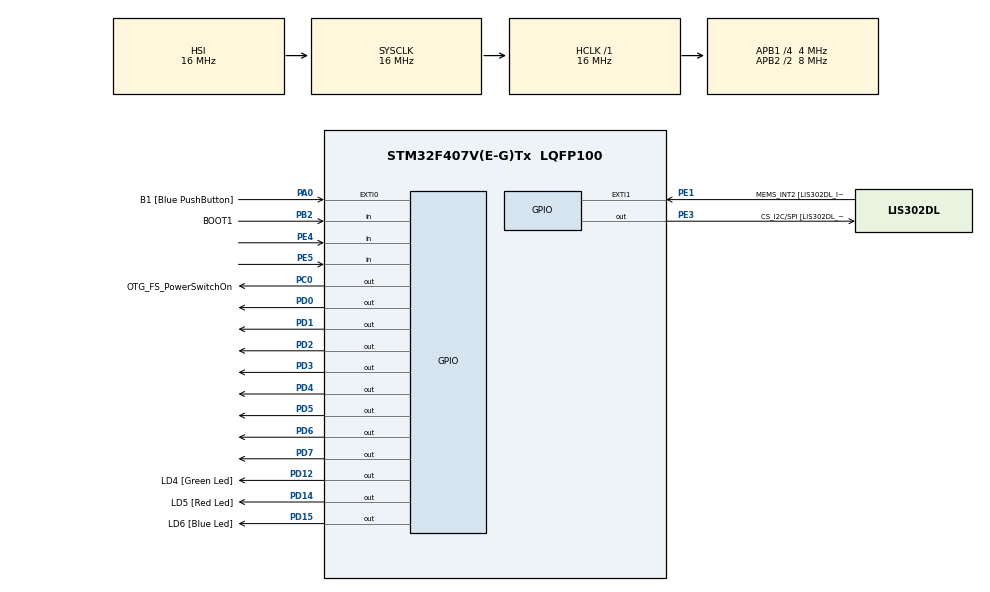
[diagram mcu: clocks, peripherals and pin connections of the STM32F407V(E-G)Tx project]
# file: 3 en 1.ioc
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Mcu.Family=STM32F4
Mcu.Name=STM32F407V(E-G)Tx
Mcu.Package=LQFP100
NVIC.PriorityGroup=NVIC_PRIORITYGROUP_0
PA0-WKUP.GPIO_Label=B1 [Blue PushButton]
PA0-WKUP.Signal=GPXTI0
PA10.GPIO_Label=OTG_FS_ID
PA10.GPIO_Mode=GPIO_MODE_AF_PP
PA10.GPIO_PuPd=GPIO_NOPULL
PA10.GPIO_Speed=GPIO_SPEED_FREQ_LOW
PA10.Signal=USB_OTG_FS_ID
PA11.GPIO_Label=OTG_FS_DM
PA11.GPIO_Mode=GPIO_MODE_AF_PP
PA11.GPIO_PuPd=GPIO_NOPULL
PA11.GPIO_Speed=GPIO_SPEED_FREQ_LOW
PA11.Signal=USB_OTG_FS_DM
PA12.GPIO_Label=OTG_FS_DP
PA12.GPIO_Mode=GPIO_MODE_AF_PP
PA12.GPIO_PuPd=GPIO_NOPULL
PA12.GPIO_Speed=GPIO_SPEED_FREQ_LOW
PA12.Signal=USB_OTG_FS_DP
PA13.GPIO_Label=SWDIO
PA13.Signal=SYS_JTMS-SWDIO
PA14.GPIO_Label=SWCLK
PA14.Signal=SYS_JTCK-SWCLK
PA4.GPIO_Label=I2S3_WS [CS43L22_LRCK]
PA4.GPIO_Mode=GPIO_MODE_AF_PP
PA4.GPIO_PuPd=GPIO_NOPULL
PA4.GPIO_Speed=GPIO_SPEED_FREQ_LOW
PA4.Signal=I2S3_WS
PA5.GPIO_Label=SPI1_SCK [LIS302DL_SCL/SPC]
PA5.GPIO_Mode=GPIO_MODE_AF_PP
PA5.GPIO_PuPd=GPIO_NOPULL
PA5.GPIO_Speed=GPIO_SPEED_FREQ_LOW
PA5.Signal=SPI1_SCK
PA6.GPIO_Label=SPI1_MISO [LIS302DL_SDO]
PA6.GPIO_Mode=GPIO_MODE_AF_PP
PA6.GPIO_PuPd=GPIO_NOPULL
PA6.GPIO_Speed=GPIO_SPEED_FREQ_LOW
PA6.Signal=SPI1_MISO
PA7.GPIO_Label=SPI1_MOSI [LIS302DL_SDA/SDI/SDO]
PA7.GPIO_Mode=GPIO_MODE_AF_PP
PA7.GPIO_PuPd=GPIO_NOPULL
PA7.GPIO_Speed=GPIO_SPEED_FREQ_LOW
PA7.Signal=SPI1_MOSI
PA9.GPIO_Label=VBUS_FS
PA9.GPIO_Mode=GPIO_MODE_INPUT
PA9.GPIO_PuPd=GPIO_NOPULL
PA9.Signal=USB_OTG_FS_VBUS
PB10.GPIO_Label=CLK_IN [MP45DT02_CLK]
PB10.GPIO_Mode=GPIO_MODE_AF_PP
PB10.GPIO_PuPd=GPIO_NOPULL
PB10.GPIO_Speed=GPIO_SPEED_FREQ_LOW
PB10.Signal=I2S2_CK
PB2.GPIO_Label=BOOT1
PB2.GPIO_Mode=GPIO_MODE_INPUT
PB2.GPIO_PuPd=GPIO_NOPULL
PB2.Signal=GPIO_Input
PB3.GPIO_Label=SWO
PB3.Signal=SYS_JTDO-SWO
PB6.GPIO_Label=Audio_SCL [CS43L22_SCL]
PB6.GPIO_Mode=GPIO_MODE_AF_OD
PB6.GPIO_PuPd=GPIO_NOPULL
PB6.GPIO_Speed=GPIO_SPEED_FREQ_LOW
PB6.Signal=I2C1_SCL
PB9.GPIO_Label=Audio_SDA [CS43L22_SDA]
PB9.GPIO_Mode=GPIO_MODE_AF_OD
PB9.GPIO_PuPd=GPIO_NOPULL
PB9.GPIO_Speed=GPIO_SPEED_FREQ_LOW
PB9.Signal=I2C1_SDA
PC0.GPIO_Label=OTG_FS_PowerSwitchOn
PC0.GPIO_PuPd=GPIO_NOPULL
PC0.GPIO_Speed=GPIO_SPEED_FREQ_LOW
PC0.PinState=GPIO_PIN_SET
PC0.Signal=GPIO_Output
PC10.GPIO_Label=I2S3_SCK [CS43L22_SCLK]
PC10.GPIO_Mode=GPIO_MODE_AF_PP
PC10.GPIO_PuPd=GPIO_NOPULL
PC10.GPIO_Speed=GPIO_SPEED_FREQ_LOW
PC10.Signal=I2S3_CK
PC12.GPIO_Label=I2S3_SD [CS43L22_SDIN]
PC12.GPIO_Mode=GPIO_MODE_AF_PP
PC12.GPIO_PuPd=GPIO_NOPULL
PC12.GPIO_Speed=GPIO_SPEED_FREQ_LOW
PC12.Signal=I2S3_SD
PC14-OSC32_IN.GPIO_Label=PC14-OSC32_IN
PC14-OSC32_IN.Signal=RCC_OSC32_IN
PC15-OSC32_OUT.GPIO_Label=PC15-OSC32_OUT
PC15-OSC32_OUT.Signal=RCC_OSC32_OUT
PC3.GPIO_Label=PDM_OUT [MP45DT02_DOUT]
PC3.GPIO_Mode=GPIO_MODE_AF_PP
PC3.GPIO_PuPd=GPIO_NOPULL
PC3.GPIO_Speed=GPIO_SPEED_FREQ_LOW
PC3.Signal=I2S2_SD
PC7.GPIO_Label=I2S3_MCK [CS43L22_MCLK]
PC7.GPIO_Mode=GPIO_MODE_AF_PP
PC7.GPIO_PuPd=GPIO_NOPULL
PC7.GPIO_Speed=GPIO_SPEED_FREQ_LOW
PC7.Signal=I2S3_MCK
PD0.Signal=GPIO_Output
PD1.Signal=GPIO_Output
PD12.GPIO_Label=LD4 [Green Led]
PD12.GPIO_PuPd=GPIO_NOPULL
PD12.GPIO_Speed=GPIO_SPEED_FREQ_LOW
PD12.Signal=GPIO_Output
PD14.GPIO_Label=LD5 [Red Led]
PD14.GPIO_PuPd=GPIO_NOPULL
PD14.GPIO_Speed=GPIO_SPEED_FREQ_LOW
PD14.Signal=GPIO_Output
PD15.GPIO_Label=LD6 [Blue Led]
PD15.GPIO_PuPd=GPIO_NOPULL
PD15.GPIO_Speed=GPIO_SPEED_FREQ_LOW
PD15.Signal=GPIO_Output
PD2.Signal=GPIO_Output
PD3.Signal=GPIO_Output
PD4.Signal=GPIO_Output
PD5.Signal=GPIO_Output
PD6.Signal=GPIO_Output
PD7.Signal=GPIO_Output
PE1.GPIO_Label=MEMS_INT2 [LIS302DL_INT2]
PE1.GPIO_ModeDefaultEXTI=GPIO_MODE_EVT_RISING
PE1.GPIO_PuPd=GPIO_NOPULL
PE1.Signal=GPXTI1
PE3.GPIO_Label=CS_I2C/SPI [LIS302DL_CS_I2C/SPI]
PE3.GPIO_PuPd=GPIO_NOPULL
PE3.GPIO_Speed=GPIO_SPEED_FREQ_LOW
PE3.Signal=GPIO_Output
PE4.Signal=GPIO_Input
PE5.Signal=GPIO_Input
PH0-OSC_IN.GPIO_Label=PH0-OSC_IN
PH0-OSC_IN.Signal=RCC_OSC_IN
PH1-OSC_OUT.GPIO_Label=PH1-OSC_OUT
PH1-OSC_OUT.Signal=RCC_OSC_OUT
ProjectManager.HeapSize=0x200
ProjectManager.StackSize=0x400
ProjectManager.TargetToolchain=STM32CubeIDE
RCC.48MHZClocksFreq_Value=14285714.285714285
RCC.AHBFreq_Value=16000000
RCC.APB1CLKDivider=RCC_HCLK_DIV4
RCC.APB1Freq_Value=4000000
RCC.APB1TimFreq_Value=8000000
RCC.APB2CLKDivider=RCC_HCLK_DIV2
RCC.APB2Freq_Value=8000000
RCC.APB2TimFreq_Value=16000000
RCC.CortexFreq_Value=16000000
RCC.HCLKFreq_Value=16000000
RCC.HSE_VALUE=8000000
RCC.HSI_VALUE=16000000
RCC.LSE_VALUE=32768
RCC.PLLM=8
RCC.PLLN=50
RCC.PLLP=RCC_PLLP_DIV4
RCC.PLLQ=7
RCC.SYSCLKFreq_VALUE=16000000
RCC.VCOOutputFreq_Value=100000000
board=STM32F407G-DISC1

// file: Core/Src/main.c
/* USER CODE BEGIN Header */
/**
  ******************************************************************************
  * @file           : main.c
  * @brief          : Main program body
  ******************************************************************************
  * @attention
  *
  * Actividad Fundamental 1: 3 en 1
  * Alumno: Gustavo Alfonso de León de León
  *
  * <h2><center>&copy; Copyright (c) 2020 STMicroelectronics.
  * All rights reserved.</center></h2>
  *
  * This software component is licensed by ST under BSD 3-Clause license,
  * the "License"; You may not use this file except in compliance with the
  * License. You may obtain a copy of the License at:
  *                        opensource.org/licenses/BSD-3-Clause
  *
  ******************************************************************************
  */
/* USER CODE END Header */
#include "main.h"

/* USER CODE BEGIN PD */

// Gemeral Defines --
#define delay1 HAL_Delay(100)

// Defines RGBCounter --
#define RED GPIO_PIN_14
#define GREEN GPIO_PIN_12
#define BLUE GPIO_PIN_15

/* USER CODE END PD */

/* USER CODE BEGIN PV */

// Variable para Switch case --
char Inputs;

// Variable Contador Binario --
unsigned char counter=0;

// Variables Auto Increible --
uint8_t counterKitt=0;
uint8_t kittLights [] = {0x01,0x02,0x04,0x08,0x10,0x20,0x40,0x80,0x40,0x20,0x10,0x08,0x04,0x02,0x01};

// Variables RGBCounter --
int color[7]={BLUE,GREEN,GREEN+BLUE,RED,RED+BLUE,RED+GREEN,RED+GREEN+BLUE};
uint8_t i=0;

/* USER CODE END PV */

void SystemClock_Config(void);
static void MX_GPIO_Init(void);
/* USER CODE BEGIN PFP */

void BinaryCounter (void);
void Kitt (void); //Knight Industries Two Thousand
void RGBCounter(void);

/* USER CODE END PFP */

/* USER CODE BEGIN 0 */

void BinaryCounter (void){
	HAL_GPIO_WritePin(GPIOD, counter, GPIO_PIN_SET);
	counter++;
}

void Kitt (void){
	HAL_GPIO_WritePin(GPIOD, kittLights[counterKitt], GPIO_PIN_SET);
	counterKitt++;
	if(counterKitt>14){
		counterKitt=1;
	}
}

void RGBCounter(void){
	HAL_GPIO_WritePin(GPIOD, color[i], GPIO_PIN_SET);
	delay1;
	HAL_GPIO_WritePin(GPIOD, color[i], GPIO_PIN_RESET);
	i++;
	if(i>=7){
		i=0;
	}
}

/* USER CODE END 0 */

int main(void)
{

  /* MCU Configuration--------------------------------------------------------*/

  /* Reset of all peripherals, Initializes the Flash interface and the Systick. */
  HAL_Init();

  /* Configure the system clock */
  SystemClock_Config();

  /* Initialize all configured peripherals */
  MX_GPIO_Init();

  /* Infinite loop */
  while (1)
  {

    /* USER CODE BEGIN 3 */
	  Inputs = (GPIOE->IDR);
	  HAL_GPIO_WritePin(GPIOD, 0xFF, GPIO_PIN_RESET);

	  switch(Inputs){
	  case 231:
		  BinaryCounter();
		  delay1;
		  break;
	  case 215:
		  Kitt();
		  delay1;
		  break;
	  case 199:
		  RGBCounter();
		  break;
	  default:
		  break;
	  }

  }
  /* USER CODE END 3 */
}

void SystemClock_Config(void)
{
  RCC_OscInitTypeDef RCC_OscInitStruct = {0};
  RCC_ClkInitTypeDef RCC_ClkInitStruct = {0};

  /** Configure the main internal regulator output voltage
  */
  __HAL_RCC_PWR_CLK_ENABLE();
  __HAL_PWR_VOLTAGESCALING_CONFIG(PWR_REGULATOR_VOLTAGE_SCALE1);
  /** Initializes the RCC Oscillators according to the specified parameters
  * in the RCC_OscInitTypeDef structure.
  */
  RCC_OscInitStruct.OscillatorType = RCC_OSCILLATORTYPE_HSI;
  RCC_OscInitStruct.HSIState = RCC_HSI_ON;
  RCC_OscInitStruct.HSICalibrationValue = RCC_HSICALIBRATION_DEFAULT;
  RCC_OscInitStruct.PLL.PLLState = RCC_PLL_NONE;
  if (HAL_RCC_OscConfig(&RCC_OscInitStruct) != HAL_OK)
  {
    Error_Handler();
  }
  /** Initializes the CPU, AHB and APB buses clocks
  */
  RCC_ClkInitStruct.ClockType = RCC_CLOCKTYPE_HCLK|RCC_CLOCKTYPE_SYSCLK
                              |RCC_CLOCKTYPE_PCLK1|RCC_CLOCKTYPE_PCLK2;
  RCC_ClkInitStruct.SYSCLKSource = RCC_SYSCLKSOURCE_HSI;
  RCC_ClkInitStruct.AHBCLKDivider = RCC_SYSCLK_DIV1;
  RCC_ClkInitStruct.APB1CLKDivider = RCC_HCLK_DIV4;
  RCC_ClkInitStruct.APB2CLKDivider = RCC_HCLK_DIV2;

  if (HAL_RCC_ClockConfig(&RCC_ClkInitStruct, FLASH_LATENCY_0) != HAL_OK)
  {
    Error_Handler();
  }
}

static void MX_GPIO_Init(void)
{
  GPIO_InitTypeDef GPIO_InitStruct = {0};

  /* GPIO Ports Clock Enable */
  __HAL_RCC_GPIOE_CLK_ENABLE();
  __HAL_RCC_GPIOC_CLK_ENABLE();
  __HAL_RCC_GPIOH_CLK_ENABLE();
  __HAL_RCC_GPIOA_CLK_ENABLE();
  __HAL_RCC_GPIOB_CLK_ENABLE();
  __HAL_RCC_GPIOD_CLK_ENABLE();

  /*Configure GPIO pin Output Level */
  HAL_GPIO_WritePin(CS_I2C_SPI_GPIO_Port, CS_I2C_SPI_Pin, GPIO_PIN_RESET);

  /*Configure GPIO pin Output Level */
  HAL_GPIO_WritePin(OTG_FS_PowerSwitchOn_GPIO_Port, OTG_FS_PowerSwitchOn_Pin, GPIO_PIN_SET);

  /*Configure GPIO pin Output Level */
  HAL_GPIO_WritePin(GPIOD, LD4_Pin|LD5_Pin|LD6_Pin|GPIO_PIN_0
                          |GPIO_PIN_1|GPIO_PIN_2|GPIO_PIN_3|GPIO_PIN_4
                          |GPIO_PIN_5|GPIO_PIN_6|GPIO_PIN_7, GPIO_PIN_RESET);

  /*Configure GPIO pin : CS_I2C_SPI_Pin */
  GPIO_InitStruct.Pin = CS_I2C_SPI_Pin;
  GPIO_InitStruct.Mode = GPIO_MODE_OUTPUT_PP;
  GPIO_InitStruct.Pull = GPIO_NOPULL;
  GPIO_InitStruct.Speed = GPIO_SPEED_FREQ_LOW;
  HAL_GPIO_Init(CS_I2C_SPI_GPIO_Port, &GPIO_InitStruct);

  /*Configure GPIO pins : PE4 PE5 */
  GPIO_InitStruct.Pin = GPIO_PIN_4|GPIO_PIN_5;
  GPIO_InitStruct.Mode = GPIO_MODE_INPUT;
  GPIO_InitStruct.Pull = GPIO_NOPULL;
  HAL_GPIO_Init(GPIOE, &GPIO_InitStruct);

  /*Configure GPIO pin : OTG_FS_PowerSwitchOn_Pin */
  GPIO_InitStruct.Pin = OTG_FS_PowerSwitchOn_Pin;
  GPIO_InitStruct.Mode = GPIO_MODE_OUTPUT_PP;
  GPIO_InitStruct.Pull = GPIO_NOPULL;
  GPIO_InitStruct.Speed = GPIO_SPEED_FREQ_LOW;
  HAL_GPIO_Init(OTG_FS_PowerSwitchOn_GPIO_Port, &GPIO_InitStruct);

  /*Configure GPIO pin : PDM_OUT_Pin */
  GPIO_InitStruct.Pin = PDM_OUT_Pin;
  GPIO_InitStruct.Mode = GPIO_MODE_AF_PP;
  GPIO_InitStruct.Pull = GPIO_NOPULL;
  GPIO_InitStruct.Speed = GPIO_SPEED_FREQ_LOW;
  GPIO_InitStruct.Alternate = GPIO_AF5_SPI2;
  HAL_GPIO_Init(PDM_OUT_GPIO_Port, &GPIO_InitStruct);

  /*Configure GPIO pin : B1_Pin */
  GPIO_InitStruct.Pin = B1_Pin;
  GPIO_InitStruct.Mode = GPIO_MODE_IT_RISING;
  GPIO_InitStruct.Pull = GPIO_NOPULL;
  HAL_GPIO_Init(B1_GPIO_Port, &GPIO_InitStruct);

  /*Configure GPIO pin : I2S3_WS_Pin */
  GPIO_InitStruct.Pin = I2S3_WS_Pin;
  GPIO_InitStruct.Mode = GPIO_MODE_AF_PP;
  GPIO_InitStruct.Pull = GPIO_NOPULL;
  GPIO_InitStruct.Speed = GPIO_SPEED_FREQ_LOW;
  GPIO_InitStruct.Alternate = GPIO_AF6_SPI3;
  HAL_GPIO_Init(I2S3_WS_GPIO_Port, &GPIO_InitStruct);

  /*Configure GPIO pins : SPI1_SCK_Pin SPI1_MISO_Pin SPI1_MOSI_Pin */
  GPIO_InitStruct.Pin = SPI1_SCK_Pin|SPI1_MISO_Pin|SPI1_MOSI_Pin;
  GPIO_InitStruct.Mode = GPIO_MODE_AF_PP;
  GPIO_InitStruct.Pull = GPIO_NOPULL;
  GPIO_InitStruct.Speed = GPIO_SPEED_FREQ_LOW;
  GPIO_InitStruct.Alternate = GPIO_AF5_SPI1;
  HAL_GPIO_Init(GPIOA, &GPIO_InitStruct);

  /*Configure GPIO pin : BOOT1_Pin */
  GPIO_InitStruct.Pin = BOOT1_Pin;
  GPIO_InitStruct.Mode = GPIO_MODE_INPUT;
  GPIO_InitStruct.Pull = GPIO_NOPULL;
  HAL_GPIO_Init(BOOT1_GPIO_Port, &GPIO_InitStruct);

  /*Configure GPIO pin : CLK_IN_Pin */
  GPIO_InitStruct.Pin = CLK_IN_Pin;
  GPIO_InitStruct.Mode = GPIO_MODE_AF_PP;
  GPIO_InitStruct.Pull = GPIO_NOPULL;
  GPIO_InitStruct.Speed = GPIO_SPEED_FREQ_LOW;
  GPIO_InitStruct.Alternate = GPIO_AF5_SPI2;
  HAL_GPIO_Init(CLK_IN_GPIO_Port, &GPIO_InitStruct);

  /*Configure GPIO pins : LD4_Pin LD5_Pin LD6_Pin PD0
                           PD1 PD2 PD3 PD4
                           PD5 PD6 PD7 */
  GPIO_InitStruct.Pin = LD4_Pin|LD5_Pin|LD6_Pin|GPIO_PIN_0
                          |GPIO_PIN_1|GPIO_PIN_2|GPIO_PIN_3|GPIO_PIN_4
                          |GPIO_PIN_5|GPIO_PIN_6|GPIO_PIN_7;
  GPIO_InitStruct.Mode = GPIO_MODE_OUTPUT_PP;
  GPIO_InitStruct.Pull = GPIO_NOPULL;
  GPIO_InitStruct.Speed = GPIO_SPEED_FREQ_LOW;
  HAL_GPIO_Init(GPIOD, &GPIO_InitStruct);

  /*Configure GPIO pins : I2S3_MCK_Pin I2S3_SCK_Pin I2S3_SD_Pin */
  GPIO_InitStruct.Pin = I2S3_MCK_Pin|I2S3_SCK_Pin|I2S3_SD_Pin;
  GPIO_InitStruct.Mode = GPIO_MODE_AF_PP;
  GPIO_InitStruct.Pull = GPIO_NOPULL;
  GPIO_InitStruct.Speed = GPIO_SPEED_FREQ_LOW;
  GPIO_InitStruct.Alternate = GPIO_AF6_SPI3;
  HAL_GPIO_Init(GPIOC, &GPIO_InitStruct);

  /*Configure GPIO pin : VBUS_FS_Pin */
  GPIO_InitStruct.Pin = VBUS_FS_Pin;
  GPIO_InitStruct.Mode = GPIO_MODE_INPUT;
  GPIO_InitStruct.Pull = GPIO_NOPULL;
  HAL_GPIO_Init(VBUS_FS_GPIO_Port, &GPIO_InitStruct);

  /*Configure GPIO pins : OTG_FS_ID_Pin OTG_FS_DM_Pin OTG_FS_DP_Pin */
  GPIO_InitStruct.Pin = OTG_FS_ID_Pin|OTG_FS_DM_Pin|OTG_FS_DP_Pin;
  GPIO_InitStruct.Mode = GPIO_MODE_AF_PP;
  GPIO_InitStruct.Pull = GPIO_NOPULL;
  GPIO_InitStruct.Speed = GPIO_SPEED_FREQ_LOW;
  GPIO_InitStruct.Alternate = GPIO_AF10_OTG_FS;
  HAL_GPIO_Init(GPIOA, &GPIO_InitStruct);

  /*Configure GPIO pins : Audio_SCL_Pin Audio_SDA_Pin */
  GPIO_InitStruct.Pin = Audio_SCL_Pin|Audio_SDA_Pin;
  GPIO_InitStruct.Mode = GPIO_MODE_AF_OD;
  GPIO_InitStruct.Pull = GPIO_PULLUP;
  GPIO_InitStruct.Speed = GPIO_SPEED_FREQ_LOW;
  GPIO_InitStruct.Alternate = GPIO_AF4_I2C1;
  HAL_GPIO_Init(GPIOB, &GPIO_InitStruct);

  /*Configure GPIO pin : MEMS_INT2_Pin */
  GPIO_InitStruct.Pin = MEMS_INT2_Pin;
  GPIO_InitStruct.Mode = GPIO_MODE_EVT_RISING;
  GPIO_InitStruct.Pull = GPIO_NOPULL;
  HAL_GPIO_Init(MEMS_INT2_GPIO_Port, &GPIO_InitStruct);

}

void Error_Handler(void)
{
}

/************************ (C) COPYRIGHT STMicroelectronics *****END OF FILE****/
